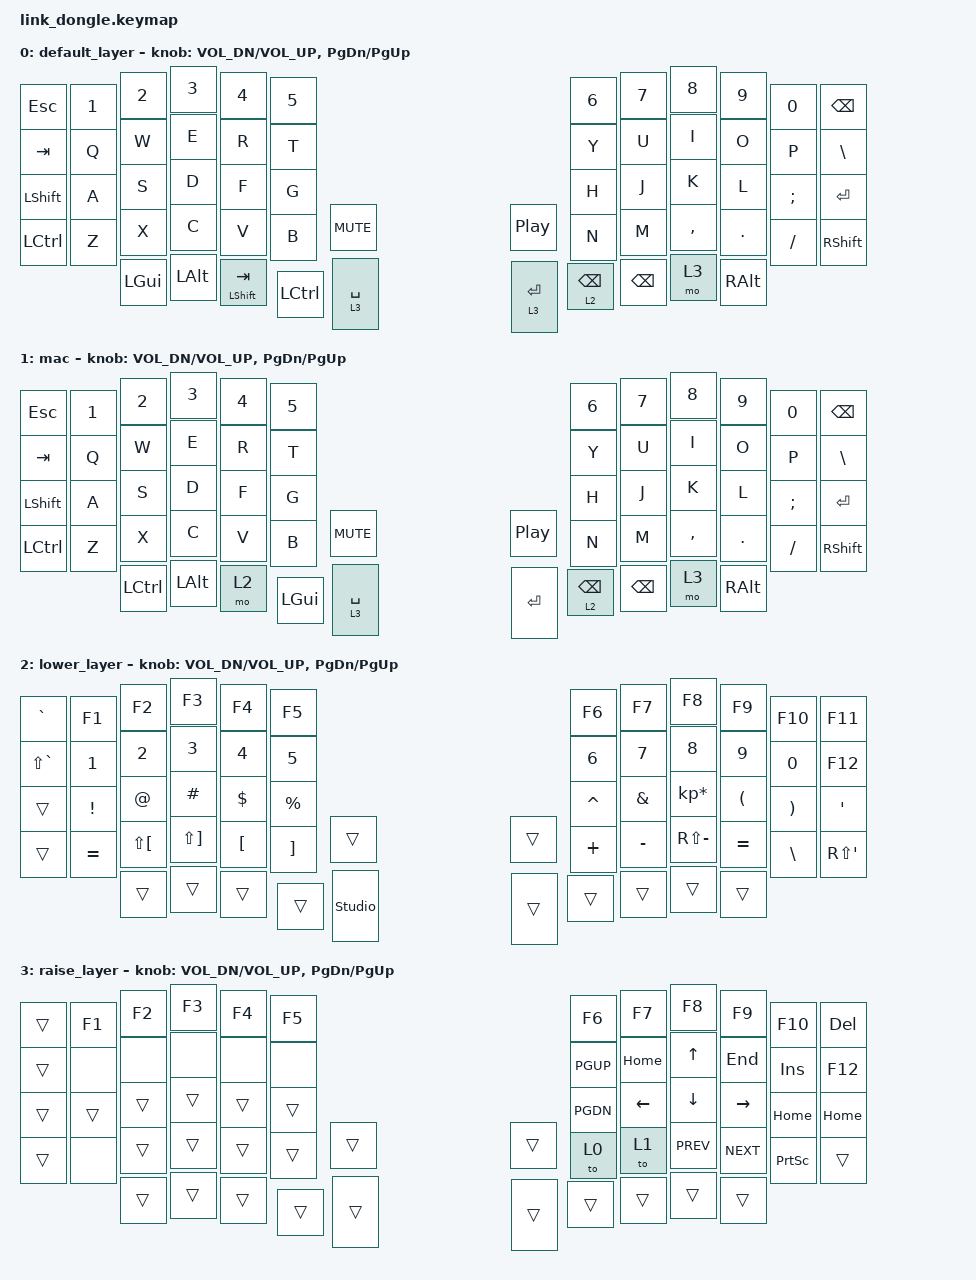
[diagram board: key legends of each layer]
/*
 * Starter keymap for the Link, running on the dongle (central).
 * Based on the stock link.keymap from zmk-cannonkeys-keyboards.
 *
 * ZMK Studio: &studio_unlock is on the lower layer (hold LOWER, press ENTER).
 */

#include <behaviors.dtsi>
#include <dt-bindings/zmk/keys.h>

/ {
    keymap {
        compatible = "zmk,keymap";

        default_layer {
            // ------------------------------------------------------------------------------------------------------------
            // |  `    |  1  |  2  |  3   |  4   |  5   |                   |  6   |  7    |  8    |  9   |   0   |   -   |
            // |  ESC  |  Q  |  W  |  E   |  R   |  T   |                   |  Y   |  U    |  I    |  O   |   P   | BKSPC |
            // |  TAB  |  A  |  S  |  D   |  F   |  G   |                   |  H   |  J    |  K    |  L   |   ;   |  '    |
            // | SHIFT |  Z  |  X  |  C   |  V   |  B   |  MUTE  |  | PLAY  |  N   |  M    |  ,    |  .   |   /   | SHIFT |
            //               | LGUI| ALT  | LCTL | LOWER| ENTER  |  | SPACE | RAISE|  RCTL |  RALT | RGUI |

            bindings = <
&kp ESCAPE        &kp N1  &kp N2    &kp N3    &kp N4              &kp N5                                        &kp N6           &kp N7         &kp N8     &kp N9         &kp N0    &kp BACKSPACE
&kp TAB           &kp Q   &kp W     &kp E     &kp R               &kp T                                         &kp Y            &kp U          &kp I      &kp O          &kp P     &kp BACKSLASH
&kp LSHFT         &kp A   &kp S     &kp D     &kp F               &kp G                                         &kp H            &kp J          &kp K      &kp L          &kp SEMI  &kp ENTER
&kp LEFT_CONTROL  &kp Z   &kp X     &kp C     &kp V               &kp B             &kp C_MUTE     &kp C_PP     &kp N            &kp M          &kp COMMA  &kp DOT        &kp FSLH  &kp RSHFT
                          &kp LGUI  &kp LALT  &mt LEFT_SHIFT TAB  &kp LEFT_CONTROL  &lt 3 SPACE    &lt 3 ENTER  &lt 2 BACKSPACE  &kp BACKSPACE  &mo 3      &kp RIGHT_ALT
            >;

            sensor-bindings = <&inc_dec_kp C_VOL_DN C_VOL_UP &inc_dec_kp PG_DN PG_UP>;
        };

        mac {
            bindings = <
&kp ESCAPE        &kp N1  &kp N2            &kp N3    &kp N4  &kp N5                                   &kp N6           &kp N7         &kp N8     &kp N9         &kp N0    &kp BACKSPACE
&kp TAB           &kp Q   &kp W             &kp E     &kp R   &kp T                                    &kp Y            &kp U          &kp I      &kp O          &kp P     &kp BACKSLASH
&kp LSHFT         &kp A   &kp S             &kp D     &kp F   &kp G                                    &kp H            &kp J          &kp K      &kp L          &kp SEMI  &kp ENTER
&kp LEFT_CONTROL  &kp Z   &kp X             &kp C     &kp V   &kp B         &kp C_MUTE     &kp C_PP    &kp N            &kp M          &kp COMMA  &kp DOT        &kp FSLH  &kp RSHFT
                          &kp LEFT_CONTROL  &kp LALT  &mo 2   &kp LEFT_GUI  &lt 3 SPACE    &kp RETURN  &lt 2 BACKSPACE  &kp BACKSPACE  &mo 3      &kp RIGHT_ALT
            >;

            sensor-bindings =
                <&inc_dec_kp C_VOL_DN C_VOL_UP>,
                <&inc_dec_kp PG_DN PG_UP>;
        };

        lower_layer {
            // ------------------------------------------------------------------------------------------------------------
            // | BLOAD |  F1 |  F2 |  F3  |  F4  |  F5  |                   |  F6  |  F7   |  F8   |  F9  |  F10  |  F11  |
            // |       |   1 |   2 |   3  |   4  |   5  |                   |   6  |   7   |   8   |   9  |    0  |  F12  |
            // |       |  !  |  @  |  #   |  $   |  %   |                   |  ^   |  &    |  *    |  (   |   )   |   |   |
            // |       |  =  |  -  |  +   |  {   |  }   |        |  |       |  [   |  ]    |  .    |  :   |   \   |       |
            //               |     |      |      |      |ST.ULOCK|  |       |      |       |       |      |

            bindings = <
&kp GRAVE      &kp F1     &kp F2                &kp F3                 &kp F4            &kp F5                                       &kp F6     &kp F7     &kp F8           &kp F9     &kp F10   &kp F11
&kp LS(GRAVE)  &kp N1     &kp N2                &kp N3                 &kp N4            &kp N5                                       &kp N6     &kp N7     &kp N8           &kp N9     &kp N0    &kp F12
&trans         &kp EXCL   &kp AT                &kp HASH               &kp DLLR          &kp PRCNT                                    &kp CARET  &kp AMPS   &kp KP_MULTIPLY  &kp LPAR   &kp RPAR  &kp SINGLE_QUOTE
&trans         &kp EQUAL  &kp LS(LEFT_BRACKET)  &kp LS(RIGHT_BRACKET)  &kp LEFT_BRACKET  &kp RIGHT_BRACKET  &trans            &trans  &kp PLUS   &kp MINUS  &kp RS(MINUS)    &kp EQUAL  &kp BSLH  &kp RS(SINGLE_QUOTE)
                          &trans                &trans                 &trans            &trans             &studio_unlock    &trans  &trans     &trans     &trans           &trans
            >;

            sensor-bindings = <&inc_dec_kp C_VOL_DN C_VOL_UP &inc_dec_kp PG_DN PG_UP>;
        };

        raise_layer {
            // ------------------------------------------------------------------------------------------------------------
            // |     |  F1  |  F2  |  F3   |  F4   |  F5  |                |  F6  |  F7  |  F8   |  F9  |  F10  | BLOAD |
            // |     | BT1  | BT2  |  BT3  |  BT4  |  BT5 |                | PGUP | HOME |   ^   | END  |  INS  |  DEL  |
            // |     |      |      |       |       |      |                | PGDN |   <- |   v   | ->   |       |       |
            // |     |BTCLR |      |       |       |      |      |  |      | CAPS |      |  PREV | NEXT |  PSCR |       |
            //              |      |       |       |      |      |  |      |      |      |       |      |

            bindings = <
&trans  &kp F1  &kp F2  &kp F3  &kp F4  &kp F5                    &kp F6    &kp F7    &kp F8      &kp F9      &kp F10    &kp DEL
&trans  &none   &none   &none   &none   &none                     &kp PGUP  &kp HOME  &kp UP      &kp END     &kp INS    &kp F12
&trans  &trans  &trans  &trans  &trans  &trans                    &kp PGDN  &kp LEFT  &kp DOWN    &kp RIGHT   &kp HOME   &kp HOME
&trans  &none   &trans  &trans  &trans  &trans  &trans    &trans  &to 0     &to 1     &kp C_PREV  &kp C_NEXT  &kp PSCRN  &trans
                &trans  &trans  &trans  &trans  &trans    &trans  &trans    &trans    &trans      &trans
            >;

            sensor-bindings = <&inc_dec_kp C_VOL_DN C_VOL_UP &inc_dec_kp PG_DN PG_UP>;
        };
    };
};
